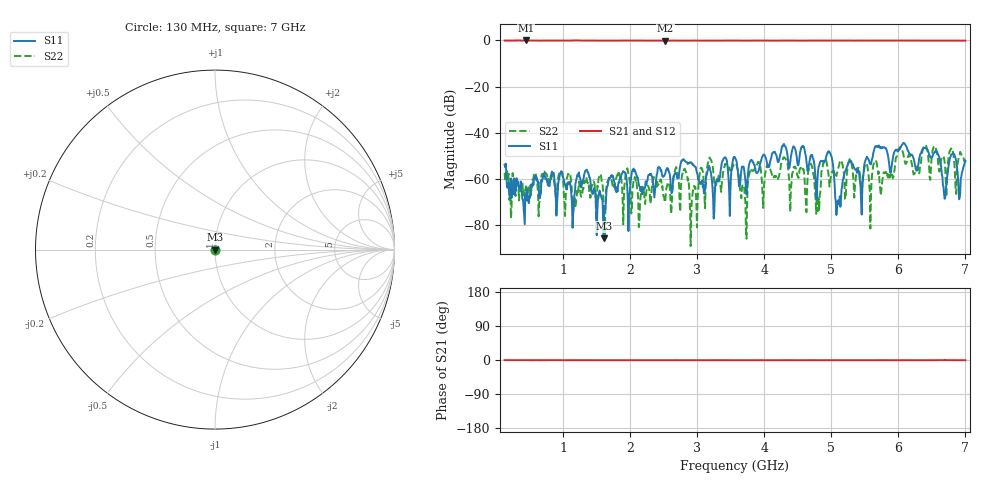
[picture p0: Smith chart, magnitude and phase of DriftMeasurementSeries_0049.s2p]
# Hz S RI R 50.000000
! Metas.Vna.Tools, 2.8.8664.20301
! Metas.Vna.Data, 2.8.8664.20285
! Created: UTC 2024.02.11 10:08:23
! FREQ  re:S1,1  im:S1,1  re:S2,1  im:S2,1  re:S1,2  im:S1,2  re:S2,2  im:S2,2
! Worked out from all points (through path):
!   801 points, 130 MHz to 7 GHz, reference 50 ohm
!   highest |S21| = -0.02 dB at 447.7 MHz (marker M1); lowest = -0.1 dB at 2.526 GHz (marker M2)
!   lowest |S11| = -85.5 dB at 1.607 GHz (marker M3), VSWR 1.00, Z = 50 + j0.00294 ohm
!   |S11| at or under -10 dB: start of sweep to end of sweep
!   |S22| runs from -88.9 to -45.2 dB; largest |S21 - S12| = 0.015
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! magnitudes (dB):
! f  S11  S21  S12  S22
! 130 MHz  -53.7  -0.1  0.0  -57.3
! 447.7 MHz  -69.2  0.0  0.0  -63.1
! 1.281 GHz  -62.4  0.0  0.0  -66.6
! 1.607 GHz  -85.5  -0.1  0.0  -78.9
! 1.71 GHz  -59.0  0.0  0.0  -61.0
! 2.423 GHz  -54.7  -0.1  0.0  -62.2
! 2.526 GHz  -57.6  -0.1  0.0  -69.5
! 3.264 GHz  -65.9  -0.1  0.0  -65.2
! 3.565 GHz  -50.6  -0.1  0.0  -53.0
! 3.72 GHz  -60.5  -0.1  0.0  -69.6
! 3.9 GHz  -57.1  -0.1  0.0  -53.3
! 4.716 GHz  -49.5  -0.1  0.0  -54.8
! 4.793 GHz  -60.6  -0.1  0.0  -68.2
! 4.887 GHz  -52.9  -0.1  0.0  -52.8
! 4.982 GHz  -48.7  -0.1  0.0  -62.1
! 5.102 GHz  -69.1  -0.1  0.0  -55.7
! 5.265 GHz  -52.6  -0.1  0.0  -52.0
! 5.446 GHz  -70.4  -0.1  0.0  -61.6
! 5.858 GHz  -52.1  0.0  0.0  -58.7
! 6.562 GHz  -48.1  -0.1  0.0  -46.9
! 6.691 GHz  -68.5  -0.1  0.0  -52.7
! 7 GHz  -52.0  -0.1  0.0  -52.8
